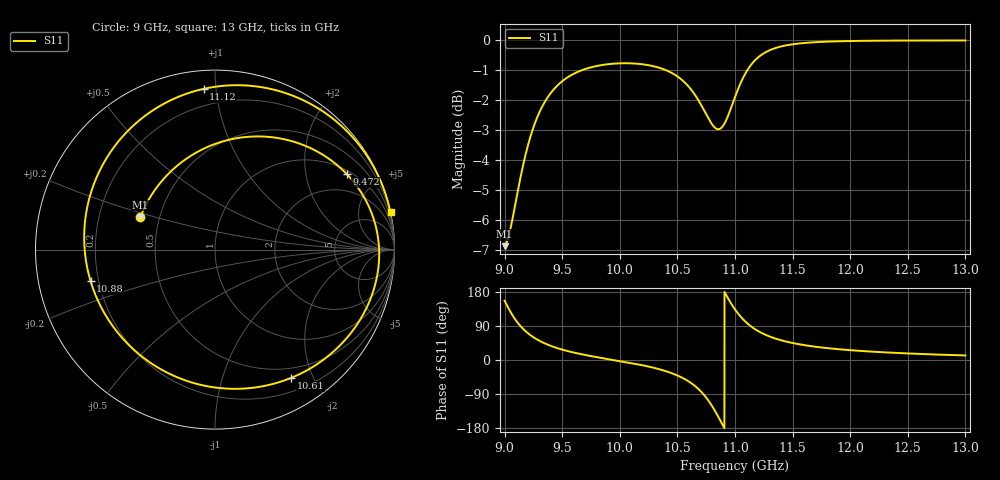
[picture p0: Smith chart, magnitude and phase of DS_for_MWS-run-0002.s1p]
! TOUCHSTONE file generated by CST DESIGN STUDIO
! Date and time: Wed Feb  5 13:47:37 2025
! Project name: C:\Work\MatlabApps\UnitCellOptimizationMatlab\CST\unitcell.cst
! Tree item: Tasks\Sweep1\SPara1\S-Parameters
! Header version: 2024
! Port assignment regex: !\s*Touchstone port\s*([0-9]+)\s*=\s*(CST MWS port|CST DES external port|CST DES block port)\s*(.+)\s* \(\"(.*)\"\)(\s*mode\s*([0-9]+))?.*
! Touchstone port assignment:
! Touchstone port 1 = CST DES external port 1 ("")
# GHz S MA R 50
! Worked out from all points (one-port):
!   4001 points, 9 GHz to 13 GHz, reference 50 ohm
!   lowest |S11| = -6.9 dB at 9 GHz (marker M1), VSWR 2.66, Z = 19.5 + j8.92 ohm
!   |S11| at or under -10 dB: nowhere
!   S11 on the Smith chart (normalised r, x): 9 GHz: 0.39, +0.18; 9.472 GHz: 1.14, +3.38; 10.61 GHz: 0.37, -1.70; 10.88 GHz: 0.17, -0.12; 11.12 GHz: 0.10, +0.93; 13 GHz: 0.02, +9.52
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9  0.4536 156.4
9.093  0.5329 106.8
9.178  0.6401 77.1
9.315  0.7677 48.7
9.472  0.8456 30.0
9.5  0.8547 27.4
9.717  0.8979 12.2
10  0.9155 -2.9
10.297  0.905 -20.8
10.408  0.8905 -30.3
10.5  0.8706 -40.8
10.612  0.831 -59.4
10.699  0.7846 -81.4
10.764  0.7442 -104.8
10.822  0.7161 -132.0
10.883  0.715 -165.7
10.938  0.747 163.6
11  0.8042 133.5
11.055  0.8539 112.3
11.117  0.8978 94.1
11.197  0.9353 77.0
11.283  0.9592 64.1
11.382  0.9749 53.7
11.5  0.985 44.8
11.709  0.9932 34.6
12  0.9974 25.9
12.5  0.9993 17.3
13  0.9996 12.0
